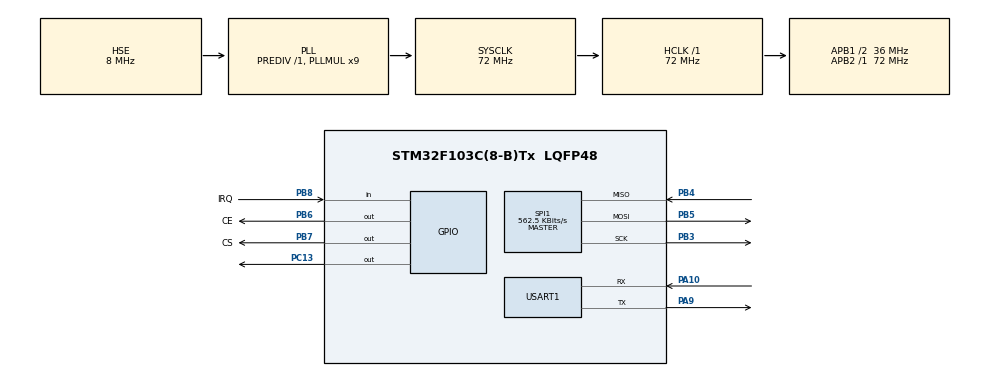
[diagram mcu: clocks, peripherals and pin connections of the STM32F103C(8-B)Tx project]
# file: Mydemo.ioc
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Mcu.Family=STM32F1
Mcu.Name=STM32F103C(8-B)Tx
Mcu.Package=LQFP48
NVIC.PriorityGroup=NVIC_PRIORITYGROUP_4
PA10.Mode=Asynchronous
PA10.Signal=USART1_RX
PA13.Mode=Serial_Wire
PA13.Signal=SYS_JTMS-SWDIO
PA14.Mode=Serial_Wire
PA14.Signal=SYS_JTCK-SWCLK
PA9.Mode=Asynchronous
PA9.Signal=USART1_TX
PB3.Mode=Full_Duplex_Master
PB3.Signal=SPI1_SCK
PB4.Mode=Full_Duplex_Master
PB4.Signal=SPI1_MISO
PB5.Mode=Full_Duplex_Master
PB5.Signal=SPI1_MOSI
PB6.GPIO_Label=CE
PB6.GPIO_Speed=GPIO_SPEED_FREQ_HIGH
PB6.PinState=GPIO_PIN_SET
PB6.Signal=GPIO_Output
PB7.GPIO_Label=CS
PB7.GPIO_Speed=GPIO_SPEED_FREQ_HIGH
PB7.PinState=GPIO_PIN_SET
PB7.Signal=GPIO_Output
PB8.GPIO_Label=IRQ
PB8.Signal=GPIO_Input
PC13-TAMPER-RTC.PinState=GPIO_PIN_SET
PC13-TAMPER-RTC.Signal=GPIO_Output
PD0-OSC_IN.Mode=HSE-External-Oscillator
PD0-OSC_IN.Signal=RCC_OSC_IN
PD1-OSC_OUT.Mode=HSE-External-Oscillator
PD1-OSC_OUT.Signal=RCC_OSC_OUT
ProjectManager.HeapSize=0x200
ProjectManager.StackSize=0x400
ProjectManager.TargetToolchain=MDK-ARM V5
RCC.AHBFreq_Value=72000000
RCC.APB1CLKDivider=RCC_HCLK_DIV2
RCC.APB1Freq_Value=36000000
RCC.APB1TimFreq_Value=72000000
RCC.APB2Freq_Value=72000000
RCC.APB2TimFreq_Value=72000000
RCC.HCLKFreq_Value=72000000
RCC.PLLMUL=RCC_PLL_MUL9
RCC.PLLSourceVirtual=RCC_PLLSOURCE_HSE
RCC.SYSCLKFreq_VALUE=72000000
RCC.SYSCLKSource=RCC_SYSCLKSOURCE_PLLCLK
RCC.USBFreq_Value=72000000
SPI1.BaudRatePrescaler=SPI_BAUDRATEPRESCALER_128
SPI1.CalculateBaudRate=562.5 KBits/s
SPI1.Direction=SPI_DIRECTION_2LINES
SPI1.Mode=SPI_MODE_MASTER
SPI1.VirtualType=VM_MASTER
USART1.VirtualMode=VM_ASYNC
board=custom

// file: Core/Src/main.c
/* USER CODE BEGIN Header */
/**
  ******************************************************************************
  * @file           : main.c
  * @brief          : Main program body
  ******************************************************************************
  * @attention
  *
  * <h2><center>&copy; Copyright (c) 2020 STMicroelectronics.
  * All rights reserved.</center></h2>
  *
  * This software component is licensed by ST under BSD 3-Clause license,
  * the "License"; You may not use this file except in compliance with the
  * License. You may obtain a copy of the License at:
  *                        opensource.org/licenses/BSD-3-Clause
  *
  ******************************************************************************
  */
/* USER CODE END Header */

#include "main.h"
#include "spi.h"
#include "usart.h"
#include "gpio.h"

/* USER CODE BEGIN Includes */
#include <stdio.h>
#include <string.h>
#include "bsp_NRF24L01.h"
/* USER CODE END Includes */

void SystemClock_Config(void);

int main(void)
{
  /* USER CODE BEGIN 1 */
	uint8_t tmp_buf[RX_PLOAD_WIDTH];
	const uint8_t SendBuffer[4]={0x03,0xFC,0xFC,0x03};
  /* USER CODE END 1 */

  /* MCU Configuration--------------------------------------------------------*/

  /* Reset of all peripherals, Initializes the Flash interface and the Systick. */
  HAL_Init();

  /* Configure the system clock */
  SystemClock_Config();

  /* Initialize all configured peripherals */
  MX_GPIO_Init();
  MX_SPI1_Init();
  MX_USART1_UART_Init();
  /* USER CODE BEGIN 2 */
//	HAL_UART_Receive_IT(&huart1, (uint8_t *)&aRxBuffer, 1);
  /* USER CODE END 2 */

  /* Infinite loop */
  /* USER CODE BEGIN WHILE */

	/*改编自硬石科技历程*/
  while(NRF24L01_Check())
	{
    printf("ERROR\n");
		HAL_GPIO_TogglePin(GPIOC,GPIO_PIN_13);
		HAL_Delay(300);
	}

  NRF24L01_RX_Mode(); //进入数据接收模式

  while (1)
  {
    /* USER CODE END WHILE */

    /* USER CODE BEGIN 3 */
    if(NRF24L01_RxPacket((uint8_t*)tmp_buf)==0)
    {
			HAL_GPIO_TogglePin(GPIOC,GPIO_PIN_13);
			/*每调用一次Rx函数，一次性存满32字节的空间，不论接收到的数据有多长*/
			/*Rx函数接收长度与RX_PLOAD_WIDTH宏有关，在.h中定义，默认32字节*/
			/*收发两端的WIDTH宏要保持一致！*/
			/*更改接受长度请更改宏！*/

			/*从数组第0位开始的6bytes，即数组0-5位（每字节8bit：发送三个16bit数=6个8bit数）*/
//			HAL_UART_Transmit(&huart1, (uint8_t *)tmp_buf, 6, 0x0a);

			/*另一种写法，功能一样，都是取数组首地址，并发送数组0-5位*/
//			HAL_UART_Transmit(&huart1, (uint8_t *)&tmp_buf[0], 6, 0x0a);

			/*虚拟示波器显示float变量*/
			HAL_UART_Transmit(&huart1, (uint8_t *)&SendBuffer[0], 1, 0x0a);
			HAL_UART_Transmit(&huart1, (uint8_t *)&SendBuffer[1], 1, 0x0a);
			HAL_UART_Transmit(&huart1, (uint8_t *)tmp_buf, RX_PLOAD_WIDTH, 0x0a);
			HAL_UART_Transmit(&huart1, (uint8_t *)&SendBuffer[2], 1, 0x0a);
			HAL_UART_Transmit(&huart1, (uint8_t *)&SendBuffer[3], 1, 0x0a);

			/*效果等同于将数组六个单元分别发送*/
//			HAL_UART_Transmit(&huart1, (uint8_t *)&tmp_buf[0], 1, 0x0a);
//			HAL_UART_Transmit(&huart1, (uint8_t *)&tmp_buf[1], 1, 0x0a);
//			HAL_UART_Transmit(&huart1, (uint8_t *)&tmp_buf[2], 1, 0x0a);
//			HAL_UART_Transmit(&huart1, (uint8_t *)&tmp_buf[3], 1, 0x0a);
//			HAL_UART_Transmit(&huart1, (uint8_t *)&tmp_buf[4], 1, 0x0a);
//			HAL_UART_Transmit(&huart1, (uint8_t *)&tmp_buf[5], 1, 0x0a);

			/*初始程序*/
//      tmp_buf[32]=0;//加入字符串结束符
//      printf("%s",tmp_buf);

    }

  }
  /* USER CODE END 3 */
}

void SystemClock_Config(void)
{
  RCC_OscInitTypeDef RCC_OscInitStruct = {0};
  RCC_ClkInitTypeDef RCC_ClkInitStruct = {0};

  /** Initializes the CPU, AHB and APB busses clocks
  */
  RCC_OscInitStruct.OscillatorType = RCC_OSCILLATORTYPE_HSE;
  RCC_OscInitStruct.HSEState = RCC_HSE_ON;
  RCC_OscInitStruct.HSEPredivValue = RCC_HSE_PREDIV_DIV1;
  RCC_OscInitStruct.HSIState = RCC_HSI_ON;
  RCC_OscInitStruct.PLL.PLLState = RCC_PLL_ON;
  RCC_OscInitStruct.PLL.PLLSource = RCC_PLLSOURCE_HSE;
  RCC_OscInitStruct.PLL.PLLMUL = RCC_PLL_MUL9;
  if (HAL_RCC_OscConfig(&RCC_OscInitStruct) != HAL_OK)
  {
    Error_Handler();
  }
  /** Initializes the CPU, AHB and APB busses clocks
  */
  RCC_ClkInitStruct.ClockType = RCC_CLOCKTYPE_HCLK|RCC_CLOCKTYPE_SYSCLK
                              |RCC_CLOCKTYPE_PCLK1|RCC_CLOCKTYPE_PCLK2;
  RCC_ClkInitStruct.SYSCLKSource = RCC_SYSCLKSOURCE_PLLCLK;
  RCC_ClkInitStruct.AHBCLKDivider = RCC_SYSCLK_DIV1;
  RCC_ClkInitStruct.APB1CLKDivider = RCC_HCLK_DIV2;
  RCC_ClkInitStruct.APB2CLKDivider = RCC_HCLK_DIV1;

  if (HAL_RCC_ClockConfig(&RCC_ClkInitStruct, FLASH_LATENCY_2) != HAL_OK)
  {
    Error_Handler();
  }
}

/* USER CODE BEGIN 4 */
int fputc(int ch, FILE *f)
{
  HAL_UART_Transmit(&huart1, (uint8_t *)&ch, 1, 0xffff);
  return ch;
}
int fgetc(FILE *f)
{
  uint8_t ch = 0;
  HAL_UART_Receive(&huart1, &ch, 1, 0xffff);
  return ch;
}
/* USER CODE END 4 */

void Error_Handler(void)
{
}

/************************ (C) COPYRIGHT STMicroelectronics *****END OF FILE****/
